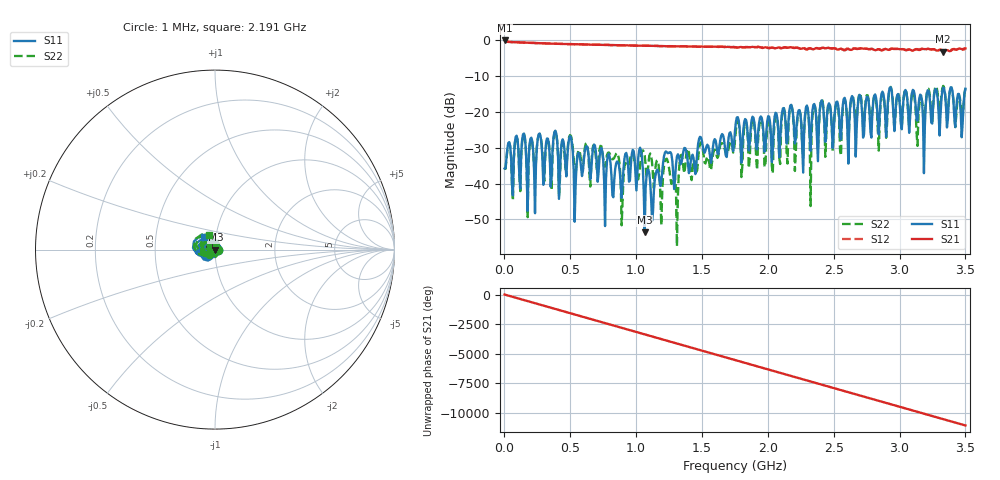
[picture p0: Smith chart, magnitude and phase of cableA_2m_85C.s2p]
# GHZ S RI R 50.000000000000
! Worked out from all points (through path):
!   501 points, 1 MHz to 3.5 GHz, reference 50 ohm
!   highest |S21| = -0.01 dB at 1 MHz (marker M1); lowest = -3.1 dB at 3.332 GHz (marker M2)
!   group delay of S21, straight-line fit = 8.8 ns
!   lowest |S11| = -53.6 dB at 1.065 GHz (marker M3), VSWR 1.00, Z = 50.2 - j0.0625 ohm
!   |S11| at or under -10 dB: start of sweep to end of sweep
!   |S22| runs from -57.5 to -12.7 dB; largest |S21 - S12| = 0.071
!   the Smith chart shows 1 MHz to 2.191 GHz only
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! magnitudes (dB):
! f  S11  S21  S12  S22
! 1 MHz  -35.8  0.0  -0.1  -35.5
! 148 MHz  -26.0  -0.6  -0.6  -26.3
! 231.9 MHz  -48.3  -0.7  -0.7  -38.4
! 266.9 MHz  -26.0  -0.8  -0.8  -26.2
! 350.9 MHz  -40.9  -0.9  -0.9  -39.5
! 385.9 MHz  -25.2  -0.9  -0.9  -25.3
! 413.9 MHz  -44.3  -0.9  -1.0  -43.8
! 588.8 MHz  -37.9  -1.1  -1.1  -36.4
! 1.03 GHz  -30.0  -1.5  -1.5  -35.1
! 1.065 GHz  -53.6  -1.5  -1.5  -32.2
! 1.17 GHz  -36.9  -1.6  -1.6  -34.6
! 1.31 GHz  -32.4  -1.6  -1.7  -57.5
! 1.345 GHz  -34.2  -1.7  -1.6  -31.9
! 1.75 GHz  -25.3  -1.9  -2.0  -27.7
! 2.03 GHz  -34.0  -2.0  -2.0  -35.2
! 2.177 GHz  -18.0  -1.9  -2.0  -18.2
! 2.338 GHz  -19.7  -2.4  -2.4  -21.2
! 2.408 GHz  -16.7  -2.1  -2.1  -16.4
! 2.919 GHz  -14.3  -2.6  -2.5  -14.8
! 3.185 GHz  -37.1  -2.4  -2.5  -21.6
! 3.332 GHz  -13.2  -3.1  -2.9  -12.7
! 3.5 GHz  -13.5  -2.2  -2.4  -13.3
